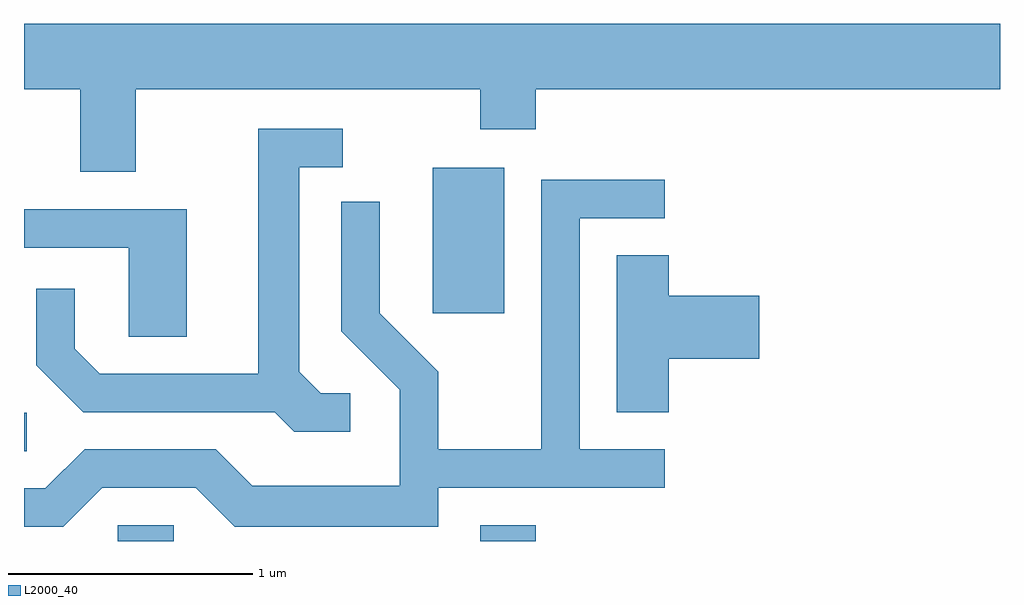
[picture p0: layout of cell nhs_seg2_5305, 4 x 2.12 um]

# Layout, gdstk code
import gdstk
lib = gdstk.Library(unit=1e-6, precision=1e-09)
def R(c, l, rs):  # rectangles x0, y0, x1, y1
    for r in rs: c.add(gdstk.rectangle(r[:2], r[2:], *l))
def P(c, l, *ps):  # polygons
    for p in ps: c.add(gdstk.Polygon(p, *l))
L2000_40 = (2000, 40)

nhs_seg2_5305 = lib.new_cell('nhs_seg2_5305')
R(nhs_seg2_5305, L2000_40, [(341.996,1039.802,342.224,1039.869), (343.481,1039.802,343.709,1039.869), (341.611,1040.171,341.623,1040.329), (343.286,1040.736,343.579,1041.334)])
P(nhs_seg2_5305, L2000_40, [(342.069,1041.656),(343.481,1041.656),(343.481,1041.491),(343.709,1041.491),(343.709,1041.656),(345.611,1041.656),(345.611,1041.924),(341.611,1041.924),(341.611,1041.656),(341.841,1041.656),(341.841,1041.316),(342.069,1041.316)],
  [(342.948,1040.409),(342.827,1040.409),(342.739,1040.497),(342.739,1041.336),(342.918,1041.336),(342.918,1041.494),(342.571,1041.494),(342.571,1040.489),(341.922,1040.489),(341.819,1040.592),(341.819,1040.838),(341.661,1040.838),(341.661,1040.524),(341.854,1040.331),(342.639,1040.331),(342.719,1040.251),(342.948,1040.251)],
  [(341.932,1040.021),(342.314,1040.021),(342.474,1039.861),(343.309,1039.861),(343.309,1040.021),(344.238,1040.021),(344.238,1040.179),(343.889,1040.179),(343.889,1041.126),(344.238,1041.126),(344.238,1041.284),(343.731,1041.284),(343.731,1040.179),(343.309,1040.179),(343.309,1040.497),(343.069,1040.737),(343.069,1041.193),(342.911,1041.193),(342.911,1040.664),(343.151,1040.424),(343.151,1040.029),(342.547,1040.029),(342.397,1040.179),(341.859,1040.179),(341.699,1040.019),(341.611,1040.019),(341.611,1039.861),(341.772,1039.861)],
  [(342.279,1041.164),(341.611,1041.164),(341.611,1041.006),(342.041,1041.006),(342.041,1040.641),(342.279,1040.641)],
  [(344.254,1040.551),(344.624,1040.551),(344.624,1040.809),(344.254,1040.809),(344.254,1040.974),(344.041,1040.974),(344.041,1040.331),(344.254,1040.331)])

lib.write_gds('nhs_seg2_5305.gds')
